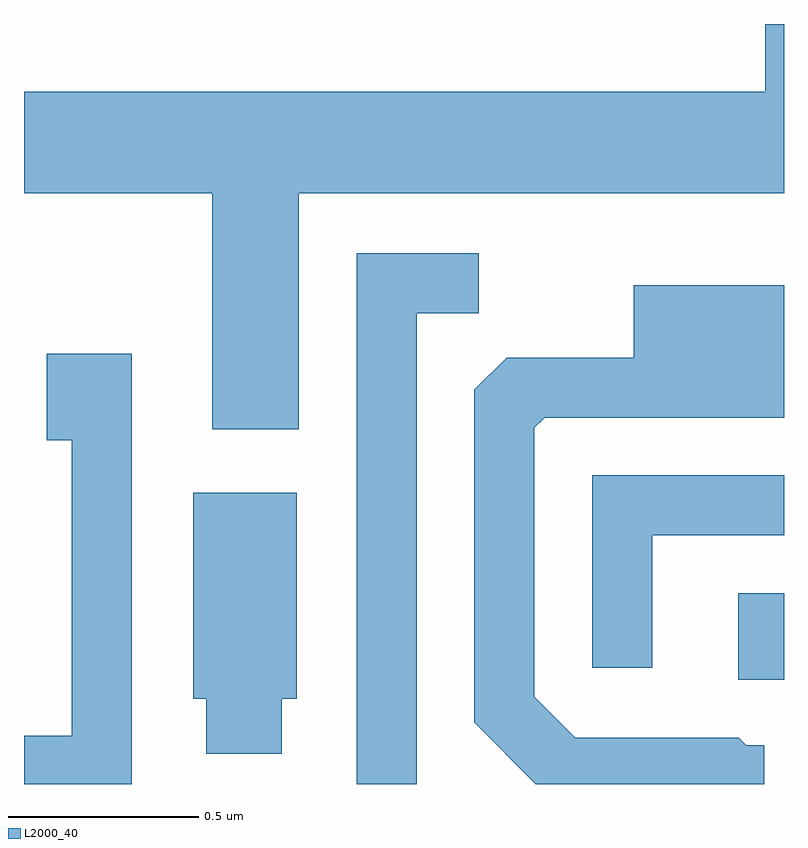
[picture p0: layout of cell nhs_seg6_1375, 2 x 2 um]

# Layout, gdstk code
import gdstk
lib = gdstk.Library(unit=1e-6, precision=1e-09)
def R(c, l, rs):  # rectangles x0, y0, x1, y1
    for r in rs: c.add(gdstk.rectangle(r[:2], r[2:], *l))
def P(c, l, *ps):  # polygons
    for p in ps: c.add(gdstk.Polygon(p, *l))
L2000_40 = (2000, 40)

nhs_seg6_1375 = lib.new_cell('nhs_seg6_1375')
R(nhs_seg6_1375, L2000_40, [(197.491,1535.436,197.611,1535.664)])
P(nhs_seg6_1375, L2000_40, [(196.334,1536.716),(197.611,1536.716),(197.611,1537.162),(197.561,1537.162),(197.561,1536.984),(195.611,1536.984),(195.611,1536.716),(196.106,1536.716),(196.106,1536.096),(196.334,1536.096)],
  [(196.644,1536.401),(196.808,1536.401),(196.808,1536.559),(196.486,1536.559),(196.486,1535.162),(196.644,1535.162)],
  [(197.559,1535.264),(197.512,1535.264),(197.492,1535.284),(197.062,1535.284),(196.954,1535.392),(196.954,1536.099),(196.982,1536.126),(197.611,1536.126),(197.611,1536.474),(197.216,1536.474),(197.216,1536.284),(196.882,1536.284),(196.796,1536.199),(196.796,1535.324),(196.958,1535.162),(197.559,1535.162)],
  [(195.894,1536.294),(195.671,1536.294),(195.671,1536.066),(195.736,1536.066),(195.736,1535.289),(195.611,1535.289),(195.611,1535.162),(195.894,1535.162)],
  [(197.264,1535.816),(197.611,1535.816),(197.611,1535.974),(197.106,1535.974),(197.106,1535.468),(197.264,1535.468)],
  [(196.289,1535.386),(196.329,1535.386),(196.329,1535.929),(196.056,1535.929),(196.056,1535.386),(196.091,1535.386),(196.091,1535.241),(196.289,1535.241)])

lib.write_gds('nhs_seg6_1375.gds')
